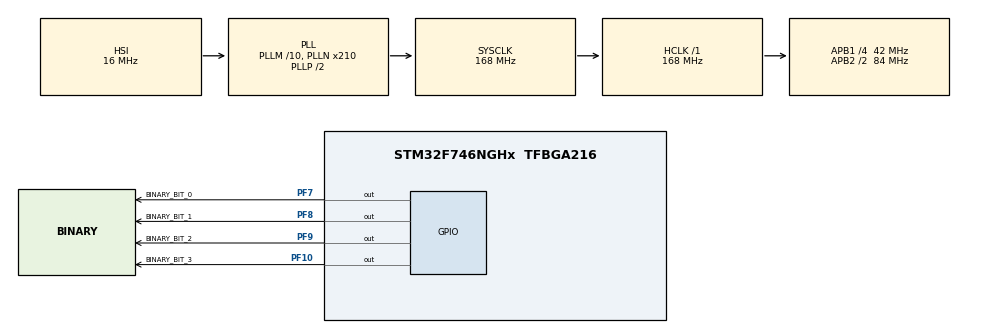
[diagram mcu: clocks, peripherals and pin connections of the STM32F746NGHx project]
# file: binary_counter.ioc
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Mcu.Family=STM32F7
Mcu.Name=STM32F746NGHx
Mcu.Package=TFBGA216
NVIC.PriorityGroup=NVIC_PRIORITYGROUP_4
NVIC.TIM8_TRG_COM_TIM14_IRQn=true\:0\:0\:false\:false\:true\:false\:true
NVIC.TimeBase=TIM8_TRG_COM_TIM14_IRQn
NVIC.TimeBaseIP=TIM14
PA13.Mode=Serial_Wire
PA13.Signal=SYS_JTMS-SWDIO
PA14.Mode=Serial_Wire
PA14.Signal=SYS_JTCK-SWCLK
PC14/OSC32_IN.Mode=LSE-External-Clock-Source
PC14/OSC32_IN.Signal=RCC_OSC32_IN
PC15/OSC32_OUT.Mode=LSE-External-Clock-Source
PC15/OSC32_OUT.Signal=RCC_OSC32_OUT
PF10.GPIO_Label=BINARY_BIT_3
PF10.Signal=GPIO_Output
PF7.GPIO_Label=BINARY_BIT_0
PF7.Signal=GPIO_Output
PF8.GPIO_Label=BINARY_BIT_1
PF8.Signal=GPIO_Output
PF9.GPIO_Label=BINARY_BIT_2
PF9.Signal=GPIO_Output
PH0/OSC_IN.Mode=HSE-External-Oscillator
PH0/OSC_IN.Signal=RCC_OSC_IN
PH1/OSC_OUT.Mode=HSE-External-Oscillator
PH1/OSC_OUT.Signal=RCC_OSC_OUT
ProjectManager.HeapSize=0x200
ProjectManager.StackSize=0x400
ProjectManager.TargetToolchain=STM32CubeIDE
RCC.AHBFreq_Value=168000000
RCC.APB1CLKDivider=RCC_HCLK_DIV4
RCC.APB1Freq_Value=42000000
RCC.APB1TimFreq_Value=84000000
RCC.APB2CLKDivider=RCC_HCLK_DIV2
RCC.APB2Freq_Value=84000000
RCC.APB2TimFreq_Value=168000000
RCC.CortexFreq_Value=168000000
RCC.HCLKFreq_Value=168000000
RCC.HSE_VALUE=25000000
RCC.HSI_VALUE=16000000
RCC.LSE_VALUE=32768
RCC.PLLM=10
RCC.PLLN=210
RCC.PLLSourceVirtual=RCC_PLLSOURCE_HSI
RCC.SYSCLKFreq_VALUE=168000000
RCC.SYSCLKSource=RCC_SYSCLKSOURCE_PLLCLK
RCC.USBFreq_Value=168000000
RCC.VCOOutputFreq_Value=336000000
VP_SYS_VS_tim14.Mode=TIM14
board=STM32F746G-DISCO

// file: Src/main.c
/* USER CODE BEGIN Header */
/**
  ******************************************************************************
  * @file           : main.c
  * @brief          : Main program body
  ******************************************************************************
  * @attention
  *
  * <h2><center>&copy; Copyright (c) 2019 STMicroelectronics.
  * All rights reserved.</center></h2>
  *
  * This software component is licensed by ST under BSD 3-Clause license,
  * the "License"; You may not use this file except in compliance with the
  * License. You may obtain a copy of the License at:
  *                        opensource.org/licenses/BSD-3-Clause
  *
  ******************************************************************************
  */
/* USER CODE END Header */

#include "main.h"

void SystemClock_Config(void);
static void MX_GPIO_Init(void);

int main(void)
{

  /* MCU Configuration--------------------------------------------------------*/

  /* Reset of all peripherals, Initializes the Flash interface and the Systick. */
  HAL_Init();

  /* Configure the system clock */
  SystemClock_Config();

  /* Initialize all configured peripherals */
  MX_GPIO_Init();
  /* USER CODE BEGIN 2 */
  uint8_t counter = 0;
  uint8_t gpio_pin_0;
  uint8_t gpio_pin_1;
  uint8_t gpio_pin_2;
  uint8_t gpio_pin_3;
  /* USER CODE END 2 */

  /* Infinite loop */
  /* USER CODE BEGIN WHILE */
  while (1)
  {
	  ++counter;
	  gpio_pin_0 = counter & 1;
	  gpio_pin_1 = (counter >> 1) & 1;
	  gpio_pin_2 = (counter >> 2) & 1;
	  gpio_pin_3 = (counter >> 3) & 1;

	  HAL_GPIO_WritePin(BINARY_BIT_0_GPIO_Port, BINARY_BIT_0_Pin, gpio_pin_0);
	  HAL_GPIO_WritePin(BINARY_BIT_1_GPIO_Port, BINARY_BIT_1_Pin, gpio_pin_1);
	  HAL_GPIO_WritePin(BINARY_BIT_2_GPIO_Port, BINARY_BIT_2_Pin, gpio_pin_2);
	  HAL_GPIO_WritePin(BINARY_BIT_3_GPIO_Port, BINARY_BIT_3_Pin, gpio_pin_3);
	  HAL_Delay(1000);
    /* USER CODE END WHILE */

  }
}

void SystemClock_Config(void)
{
  RCC_OscInitTypeDef RCC_OscInitStruct = {0};
  RCC_ClkInitTypeDef RCC_ClkInitStruct = {0};

  /** Configure the main internal regulator output voltage
  */
  __HAL_RCC_PWR_CLK_ENABLE();
  __HAL_PWR_VOLTAGESCALING_CONFIG(PWR_REGULATOR_VOLTAGE_SCALE2);
  /** Initializes the CPU, AHB and APB busses clocks
  */
  RCC_OscInitStruct.OscillatorType = RCC_OSCILLATORTYPE_HSI;
  RCC_OscInitStruct.HSIState = RCC_HSI_ON;
  RCC_OscInitStruct.HSICalibrationValue = RCC_HSICALIBRATION_DEFAULT;
  RCC_OscInitStruct.PLL.PLLState = RCC_PLL_ON;
  RCC_OscInitStruct.PLL.PLLSource = RCC_PLLSOURCE_HSI;
  RCC_OscInitStruct.PLL.PLLM = 10;
  RCC_OscInitStruct.PLL.PLLN = 210;
  RCC_OscInitStruct.PLL.PLLP = RCC_PLLP_DIV2;
  RCC_OscInitStruct.PLL.PLLQ = 2;
  if (HAL_RCC_OscConfig(&RCC_OscInitStruct) != HAL_OK)
  {
    Error_Handler();
  }
  /** Initializes the CPU, AHB and APB busses clocks
  */
  RCC_ClkInitStruct.ClockType = RCC_CLOCKTYPE_HCLK|RCC_CLOCKTYPE_SYSCLK
                              |RCC_CLOCKTYPE_PCLK1|RCC_CLOCKTYPE_PCLK2;
  RCC_ClkInitStruct.SYSCLKSource = RCC_SYSCLKSOURCE_PLLCLK;
  RCC_ClkInitStruct.AHBCLKDivider = RCC_SYSCLK_DIV1;
  RCC_ClkInitStruct.APB1CLKDivider = RCC_HCLK_DIV4;
  RCC_ClkInitStruct.APB2CLKDivider = RCC_HCLK_DIV2;

  if (HAL_RCC_ClockConfig(&RCC_ClkInitStruct, FLASH_LATENCY_5) != HAL_OK)
  {
    Error_Handler();
  }
}

static void MX_GPIO_Init(void)
{
  GPIO_InitTypeDef GPIO_InitStruct = {0};

  /* GPIO Ports Clock Enable */
  __HAL_RCC_GPIOA_CLK_ENABLE();
  __HAL_RCC_GPIOC_CLK_ENABLE();
  __HAL_RCC_GPIOH_CLK_ENABLE();
  __HAL_RCC_GPIOF_CLK_ENABLE();

  /*Configure GPIO pin Output Level */
  HAL_GPIO_WritePin(GPIOF, BINARY_BIT_0_Pin|BINARY_BIT_3_Pin|BINARY_BIT_2_Pin|BINARY_BIT_1_Pin, GPIO_PIN_RESET);

  /*Configure GPIO pins : BINARY_BIT_0_Pin BINARY_BIT_3_Pin BINARY_BIT_2_Pin BINARY_BIT_1_Pin */
  GPIO_InitStruct.Pin = BINARY_BIT_0_Pin|BINARY_BIT_3_Pin|BINARY_BIT_2_Pin|BINARY_BIT_1_Pin;
  GPIO_InitStruct.Mode = GPIO_MODE_OUTPUT_PP;
  GPIO_InitStruct.Pull = GPIO_NOPULL;
  GPIO_InitStruct.Speed = GPIO_SPEED_FREQ_LOW;
  HAL_GPIO_Init(GPIOF, &GPIO_InitStruct);

}

void HAL_TIM_PeriodElapsedCallback(TIM_HandleTypeDef *htim)
{
  if (htim->Instance == TIM14) {
    HAL_IncTick();
  }
}

void Error_Handler(void)
{
}

/************************ (C) COPYRIGHT STMicroelectronics *****END OF FILE****/
